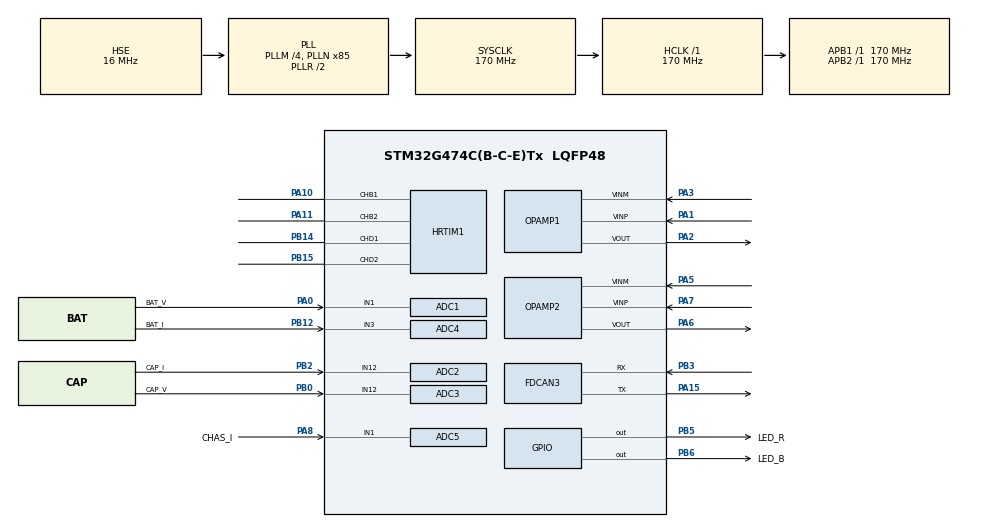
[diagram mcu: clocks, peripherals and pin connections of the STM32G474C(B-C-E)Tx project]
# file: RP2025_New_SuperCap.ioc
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ADC1.Channel-0\#ChannelRegularConversion=ADC_CHANNEL_1
ADC1.DMAContinuousRequests=ENABLE
ADC1.ExternalTrigConv=ADC_EXTERNALTRIG_HRTIM_TRG1
ADC1.NbrOfConversionFlag=1
ADC1.OffsetNumber-0\#ChannelRegularConversion=ADC_OFFSET_NONE
ADC1.Overrun=ADC_OVR_DATA_OVERWRITTEN
ADC1.Rank-0\#ChannelRegularConversion=1
ADC1.SamplingTime-0\#ChannelRegularConversion=ADC_SAMPLETIME_247CYCLES_5
ADC1.master=1
ADC2.Channel-0\#ChannelRegularConversion=ADC_CHANNEL_12
ADC2.DMAContinuousRequests=ENABLE
ADC2.ExternalTrigConv=ADC_EXTERNALTRIG_HRTIM_TRG1
ADC2.NbrOfConversionFlag=1
ADC2.OffsetNumber-0\#ChannelRegularConversion=ADC_OFFSET_NONE
ADC2.Overrun=ADC_OVR_DATA_OVERWRITTEN
ADC2.Rank-0\#ChannelRegularConversion=1
ADC2.SamplingTime-0\#ChannelRegularConversion=ADC_SAMPLETIME_247CYCLES_5
ADC3.Channel-0\#ChannelRegularConversion=ADC_CHANNEL_12
ADC3.DMAContinuousRequests=ENABLE
ADC3.ExternalTrigConv=ADC_EXTERNALTRIG_HRTIM_TRG1
ADC3.NbrOfConversionFlag=1
ADC3.OffsetNumber-0\#ChannelRegularConversion=ADC_OFFSET_NONE
ADC3.Overrun=ADC_OVR_DATA_OVERWRITTEN
ADC3.Rank-0\#ChannelRegularConversion=1
ADC3.SamplingTime-0\#ChannelRegularConversion=ADC_SAMPLETIME_247CYCLES_5
ADC3.master=1
ADC4.Channel-0\#ChannelRegularConversion=ADC_CHANNEL_3
ADC4.DMAContinuousRequests=ENABLE
ADC4.ExternalTrigConv=ADC_EXTERNALTRIG_HRTIM_TRG1
ADC4.NbrOfConversionFlag=1
ADC4.OffsetNumber-0\#ChannelRegularConversion=ADC_OFFSET_NONE
ADC4.Overrun=ADC_OVR_DATA_OVERWRITTEN
ADC4.Rank-0\#ChannelRegularConversion=1
ADC4.SamplingTime-0\#ChannelRegularConversion=ADC_SAMPLETIME_247CYCLES_5
ADC5.Channel-0\#ChannelRegularConversion=ADC_CHANNEL_1
ADC5.DMAContinuousRequests=ENABLE
ADC5.ExternalTrigConv=ADC_EXTERNALTRIG_HRTIM_TRG1
ADC5.NbrOfConversionFlag=1
ADC5.OffsetNumber-0\#ChannelRegularConversion=ADC_OFFSET_NONE
ADC5.Overrun=ADC_OVR_DATA_OVERWRITTEN
ADC5.Rank-0\#ChannelRegularConversion=1
ADC5.SamplingTime-0\#ChannelRegularConversion=ADC_SAMPLETIME_247CYCLES_5
Dma.ADC1.0.Direction=DMA_PERIPH_TO_MEMORY
Dma.ADC1.0.EventEnable=DISABLE
Dma.ADC1.0.Instance=DMA1_Channel1
Dma.ADC1.0.MemDataAlignment=DMA_MDATAALIGN_HALFWORD
Dma.ADC1.0.MemInc=DMA_MINC_ENABLE
Dma.ADC1.0.Mode=DMA_CIRCULAR
Dma.ADC1.0.PeriphDataAlignment=DMA_PDATAALIGN_HALFWORD
Dma.ADC1.0.PeriphInc=DMA_PINC_DISABLE
Dma.ADC1.0.Polarity=HAL_DMAMUX_REQ_GEN_RISING
Dma.ADC1.0.Priority=DMA_PRIORITY_HIGH
Dma.ADC1.0.RequestNumber=1
Dma.ADC1.0.SignalID=NONE
Dma.ADC1.0.SyncEnable=DISABLE
Dma.ADC1.0.SyncPolarity=HAL_DMAMUX_SYNC_NO_EVENT
Dma.ADC1.0.SyncRequestNumber=1
Dma.ADC1.0.SyncSignalID=NONE
Dma.ADC2.1.Direction=DMA_PERIPH_TO_MEMORY
Dma.ADC2.1.EventEnable=DISABLE
Dma.ADC2.1.Instance=DMA1_Channel2
Dma.ADC2.1.MemDataAlignment=DMA_MDATAALIGN_HALFWORD
Dma.ADC2.1.MemInc=DMA_MINC_ENABLE
Dma.ADC2.1.Mode=DMA_CIRCULAR
Dma.ADC2.1.PeriphDataAlignment=DMA_PDATAALIGN_HALFWORD
Dma.ADC2.1.PeriphInc=DMA_PINC_DISABLE
Dma.ADC2.1.Polarity=HAL_DMAMUX_REQ_GEN_RISING
Dma.ADC2.1.Priority=DMA_PRIORITY_VERY_HIGH
Dma.ADC2.1.RequestNumber=1
Dma.ADC2.1.SignalID=NONE
Dma.ADC2.1.SyncEnable=DISABLE
Dma.ADC2.1.SyncPolarity=HAL_DMAMUX_SYNC_NO_EVENT
Dma.ADC2.1.SyncRequestNumber=1
Dma.ADC2.1.SyncSignalID=NONE
Dma.ADC3.2.Direction=DMA_PERIPH_TO_MEMORY
Dma.ADC3.2.EventEnable=DISABLE
Dma.ADC3.2.Instance=DMA1_Channel3
Dma.ADC3.2.MemDataAlignment=DMA_MDATAALIGN_HALFWORD
Dma.ADC3.2.MemInc=DMA_MINC_ENABLE
Dma.ADC3.2.Mode=DMA_CIRCULAR
Dma.ADC3.2.PeriphDataAlignment=DMA_PDATAALIGN_HALFWORD
Dma.ADC3.2.PeriphInc=DMA_PINC_DISABLE
Dma.ADC3.2.Polarity=HAL_DMAMUX_REQ_GEN_RISING
Dma.ADC3.2.Priority=DMA_PRIORITY_HIGH
Dma.ADC3.2.RequestNumber=1
Dma.ADC3.2.SignalID=NONE
Dma.ADC3.2.SyncEnable=DISABLE
Dma.ADC3.2.SyncPolarity=HAL_DMAMUX_SYNC_NO_EVENT
Dma.ADC3.2.SyncRequestNumber=1
Dma.ADC3.2.SyncSignalID=NONE
Dma.ADC4.3.Direction=DMA_PERIPH_TO_MEMORY
Dma.ADC4.3.EventEnable=DISABLE
Dma.ADC4.3.Instance=DMA1_Channel4
Dma.ADC4.3.MemDataAlignment=DMA_MDATAALIGN_HALFWORD
Dma.ADC4.3.MemInc=DMA_MINC_ENABLE
Dma.ADC4.3.Mode=DMA_CIRCULAR
Dma.ADC4.3.PeriphDataAlignment=DMA_PDATAALIGN_HALFWORD
Dma.ADC4.3.PeriphInc=DMA_PINC_DISABLE
Dma.ADC4.3.Polarity=HAL_DMAMUX_REQ_GEN_RISING
Dma.ADC4.3.Priority=DMA_PRIORITY_VERY_HIGH
Dma.ADC4.3.RequestNumber=1
Dma.ADC4.3.SignalID=NONE
Dma.ADC4.3.SyncEnable=DISABLE
Dma.ADC4.3.SyncPolarity=HAL_DMAMUX_SYNC_NO_EVENT
Dma.ADC4.3.SyncRequestNumber=1
Dma.ADC4.3.SyncSignalID=NONE
Dma.ADC5.4.Direction=DMA_PERIPH_TO_MEMORY
Dma.ADC5.4.EventEnable=DISABLE
Dma.ADC5.4.Instance=DMA1_Channel5
Dma.ADC5.4.MemDataAlignment=DMA_MDATAALIGN_HALFWORD
Dma.ADC5.4.MemInc=DMA_MINC_ENABLE
Dma.ADC5.4.Mode=DMA_CIRCULAR
Dma.ADC5.4.PeriphDataAlignment=DMA_PDATAALIGN_HALFWORD
Dma.ADC5.4.PeriphInc=DMA_PINC_DISABLE
Dma.ADC5.4.Polarity=HAL_DMAMUX_REQ_GEN_RISING
Dma.ADC5.4.Priority=DMA_PRIORITY_MEDIUM
Dma.ADC5.4.RequestNumber=1
Dma.ADC5.4.SignalID=NONE
Dma.ADC5.4.SyncEnable=DISABLE
Dma.ADC5.4.SyncPolarity=HAL_DMAMUX_SYNC_NO_EVENT
Dma.ADC5.4.SyncRequestNumber=1
Dma.ADC5.4.SyncSignalID=NONE
Dma.Request0=ADC1
Dma.Request1=ADC2
Dma.Request2=ADC3
Dma.Request3=ADC4
Dma.Request4=ADC5
FDCAN3.CalculateBaudRateNominal=999999
FDCAN3.CalculateTimeBitNominal=1000
FDCAN3.CalculateTimeQuantumNominal=5.882352941176471
FDCAN3.NominalPrescaler=1
FDCAN3.NominalTimeSeg1=85
FDCAN3.NominalTimeSeg2=84
HRTIM1.ADCTrigger1_Source1=HRTIM_ADCTRIGGEREVENT13_MASTER_CMP3
HRTIM1.ADCTrigger_Id1=HRTIM_ADCTRIGGER_1
HRTIM1.CompareUnit1-MasterTimer=HRTIM_COMPAREUNIT_1
HRTIM1.CompareUnit1-Output_TB1TB2=HRTIM_COMPAREUNIT_1
HRTIM1.CompareUnit1-Output_TD1TD2=HRTIM_COMPAREUNIT_1
HRTIM1.CompareUnit3-MasterTimer=HRTIM_COMPAREUNIT_3
HRTIM1.CompareUnit3-Output_TB1TB2=HRTIM_COMPAREUNIT_3
HRTIM1.CompareUnit3-Output_TD1TD2=HRTIM_COMPAREUNIT_3
HRTIM1.CompareValue1-MasterTimer=13600
HRTIM1.CompareValue1-Output_TB1TB2=13600
HRTIM1.CompareValue1-Output_TD1TD2=13600
HRTIM1.CompareValue3-MasterTimer=10880
HRTIM1.CompareValue3-Output_TB1TB2=13600
HRTIM1.CompareValue3-Output_TD1TD2=13600
HRTIM1.DeadTimeInsertion-Output_TB1TB2=HRTIM_TIMDEADTIMEINSERTION_ENABLED
HRTIM1.DeadTimeInsertion-Output_TD1TD2=HRTIM_TIMDEADTIMEINSERTION_ENABLED
HRTIM1.FallingValue-Output_TB1TB2=300
HRTIM1.FallingValue-Output_TD1TD2=300
HRTIM1.InterruptRequests1_Master=HRTIM_MASTER_IT_MREP
HRTIM1.NumberADCTriggerSource1=1
HRTIM1.NumberInterruptRequests_Master-MasterTimer=1
HRTIM1.NumberResetSource1-Output_TB1TB2=1
HRTIM1.NumberResetSource1-Output_TD1TD2=1
HRTIM1.NumberResetTrigger-Output_TB1TB2=1
HRTIM1.NumberResetTrigger-Output_TD1TD2=1
HRTIM1.NumberSetSource1-Output_TB1TB2=1
HRTIM1.NumberSetSource1-Output_TD1TD2=1
HRTIM1.NumberUpdateTrigger-Output_TB1TB2=1
HRTIM1.NumberUpdateTrigger-Output_TD1TD2=1
HRTIM1.Periode_MASTER=27200
HRTIM1.Periode_TB=27200
HRTIM1.Periode_TD=27200
HRTIM1.PreloadEnable-MasterTimer=HRTIM_PRELOAD_ENABLED
HRTIM1.PreloadEnable-Output_TB1TB2=HRTIM_PRELOAD_ENABLED
HRTIM1.PreloadEnable-Output_TD1TD2=HRTIM_PRELOAD_ENABLED
HRTIM1.RepetitionCounter-MasterTimer=5
HRTIM1.RepetitionUpdate-MasterTimer=HRTIM_UPDATEONREPETITION_ENABLED
HRTIM1.RepetitionUpdate-Output_TB1TB2=HRTIM_UPDATEONREPETITION_ENABLED
HRTIM1.RepetitionUpdate-Output_TD1TD2=HRTIM_UPDATEONREPETITION_ENABLED
HRTIM1.ResetOutput1_Source1-Output_TB1TB2=HRTIM_OUTPUTRESET_TIMCMP3
HRTIM1.ResetOutput1_Source1-Output_TD1TD2=HRTIM_OUTPUTRESET_TIMCMP3
HRTIM1.ResetTrigger1-Output_TB1TB2=HRTIM_TIMRESETTRIGGER_MASTER_PER
HRTIM1.ResetTrigger1-Output_TD1TD2=HRTIM_TIMRESETTRIGGER_MASTER_PER
HRTIM1.ResetUpdate-Output_TB1TB2=HRTIM_TIMUPDATEONRESET_ENABLED
HRTIM1.ResetUpdate-Output_TD1TD2=HRTIM_TIMUPDATEONRESET_ENABLED
HRTIM1.RisingValue-Output_TB1TB2=300
HRTIM1.RisingValue-Output_TD1TD2=300
HRTIM1.SetOutput1_Source1-Output_TB1TB2=HRTIM_OUTPUTSET_TIMCMP1
HRTIM1.SetOutput1_Source1-Output_TD1TD2=HRTIM_OUTPUTSET_TIMCMP1
HRTIM1.UpdateTrigger1-Output_TB1TB2=HRTIM_TIMUPDATETRIGGER_TIMER_B
HRTIM1.UpdateTrigger1-Output_TD1TD2=HRTIM_TIMUPDATETRIGGER_TIMER_D
Mcu.Family=STM32G4
Mcu.Name=STM32G474C(B-C-E)Tx
Mcu.Package=LQFP48
NVIC.DMA1_Channel1_IRQn=true\:0\:0\:false\:false\:true\:false\:true\:true
NVIC.DMA1_Channel2_IRQn=true\:0\:0\:false\:false\:true\:false\:true\:true
NVIC.DMA1_Channel3_IRQn=true\:0\:0\:false\:false\:true\:false\:true\:true
NVIC.DMA1_Channel4_IRQn=true\:0\:0\:false\:false\:true\:false\:true\:true
NVIC.DMA1_Channel5_IRQn=true\:0\:0\:false\:false\:true\:false\:true\:true
NVIC.FDCAN3_IT0_IRQn=true\:0\:0\:true\:false\:true\:true\:true\:true
NVIC.HRTIM1_Master_IRQn=true\:0\:0\:false\:false\:true\:true\:true\:true
NVIC.PriorityGroup=NVIC_PRIORITYGROUP_4
NVIC.TIM2_IRQn=true\:15\:0\:false\:false\:true\:false\:true\:true
NVIC.TimeBase=TIM2_IRQn
NVIC.TimeBaseIP=TIM2
OPAMP1.PowerMode=OPAMP_POWERMODE_HIGHSPEED
OPAMP2.PowerMode=OPAMP_POWERMODE_HIGHSPEED
PA0.GPIO_Label=BAT_V
PA0.Mode=IN1-Single-Ended
PA0.Signal=ADC1_IN1
PA1.Mode=Standalone
PA1.Signal=OPAMP1_VINP
PA10.Mode=Output_TB1TB2
PA10.Signal=HRTIM1_CHB1
PA11.Mode=Output_TB1TB2
PA11.Signal=HRTIM1_CHB2
PA13.Mode=Serial_Wire
PA13.Signal=SYS_JTMS-SWDIO
PA14.Mode=Serial_Wire
PA14.Signal=SYS_JTCK-SWCLK
PA15.GPIO_Speed=GPIO_SPEED_FREQ_VERY_HIGH
PA15.Mode=FDCAN_Activate
PA15.Signal=FDCAN3_TX
PA2.Mode=Standalone
PA2.Signal=OPAMP1_VOUT
PA3.Mode=Standalone
PA3.Signal=OPAMP1_VINM
PA5.Mode=Standalone
PA5.Signal=OPAMP2_VINM
PA6.Mode=Standalone
PA6.Signal=OPAMP2_VOUT
PA7.Mode=Standalone
PA7.Signal=OPAMP2_VINP
PA8.GPIO_Label=CHAS_I
PA8.Mode=IN1-Single-Ended
PA8.Signal=ADC5_IN1
PB0.GPIO_Label=CAP_V
PB0.Mode=IN12-Single-Ended
PB0.Signal=ADC3_IN12
PB10.Signal=USART3_TX
PB11.Signal=USART3_RX
PB12.GPIO_Label=BAT_I
PB12.Mode=IN3-Single-Ended
PB12.Signal=ADC4_IN3
PB14.Mode=Output_TD1TD2
PB14.Signal=HRTIM1_CHD1
PB15.Mode=Output_TD1TD2
PB15.Signal=HRTIM1_CHD2
PB2.GPIO_Label=CAP_I
PB2.Mode=IN12-Single-Ended
PB2.Signal=ADC2_IN12
PB3.GPIO_Speed=GPIO_SPEED_FREQ_VERY_HIGH
PB3.Mode=FDCAN_Activate
PB3.Signal=FDCAN3_RX
PB5.GPIO_Label=LED_R
PB5.GPIO_Speed=GPIO_SPEED_FREQ_VERY_HIGH
PB5.Signal=GPIO_Output
PB6.GPIO_FM6=SYSCFG_FASTMODEPLUS_PB6
PB6.GPIO_Label=LED_B
PB6.GPIO_Speed=GPIO_SPEED_FREQ_VERY_HIGH
PB6.Signal=GPIO_Output
PB8-BOOT0.Signal=I2C1_SCL
PB9.Signal=I2C1_SDA
PF0-OSC_IN.Mode=HSE-External-Oscillator
PF0-OSC_IN.Signal=RCC_OSC_IN
PF1-OSC_OUT.Mode=HSE-External-Oscillator
PF1-OSC_OUT.Signal=RCC_OSC_OUT
ProjectManager.HeapSize=0x200
ProjectManager.StackSize=0x400
ProjectManager.TargetToolchain=MDK-ARM V5.32
RCC.ADC12Freq_Value=170000000
RCC.ADC345Freq_Value=170000000
RCC.AHBFreq_Value=170000000
RCC.APB1Freq_Value=170000000
RCC.APB1TimFreq_Value=170000000
RCC.APB2Freq_Value=170000000
RCC.APB2TimFreq_Value=170000000
RCC.CortexFreq_Value=170000000
RCC.EXTERNAL_CLOCK_VALUE=12288000
RCC.HCLKFreq_Value=170000000
RCC.HSE_VALUE=16000000
RCC.HSI48_VALUE=48000000
RCC.HSI_VALUE=16000000
RCC.LSE_VALUE=32768
RCC.PLLM=RCC_PLLM_DIV4
RCC.PLLN=85
RCC.PLLSourceVirtual=RCC_PLLSOURCE_HSE
RCC.PREFETCH_ENABLE=1
RCC.SYSCLKFreq_VALUE=170000000
RCC.SYSCLKSource=RCC_SYSCLKSOURCE_PLLCLK
RCC.USBFreq_Value=170000000
RCC.VCOOutputFreq_Value=340000000
VP_HRTIM1_VS_hrtimMasterTimerNoOutput.Mode=MasterTimer
VP_SYS_VS_DBSignals.Mode=DisableDeadBatterySignals
VP_SYS_VS_tim2.Mode=TIM2
VP_SYS_V_VREFBUF.Mode=ExternalMode
board=custom

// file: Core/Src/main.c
/* USER CODE BEGIN Header */
/**
  ******************************************************************************
  * @file           : main.c
  * @brief          : Main program body
  ******************************************************************************
  * @attention
  *
  * Copyright (c) 2025 STMicroelectronics.
  * All rights reserved.
  *
  * This software is licensed under terms that can be found in the LICENSE file
  * in the root directory of this software component.
  * If no LICENSE file comes with this software, it is provided AS-IS.
  *
  ******************************************************************************
  */
/* USER CODE END Header */
#include "main.h"
#include "adc.h"
#include "dma.h"
#include "fdcan.h"
#include "hrtim.h"
#include "opamp.h"
#include "gpio.h"

/* USER CODE BEGIN Includes */

#include "driver.h"
#include "cap_board.h"
#include "config.h"

#ifdef _I_NEED_TO_PRINT_INFO_

// 调试用
#include "DWT.h"
#include "WL_debug_uart.h"

#endif

/* USER CODE END Includes */

/* USER CODE BEGIN PV */

#ifdef _I_NEED_TO_PRINT_INFO_

// 调试用
/* 看代码运行周期数的变量 */
uint32_t diff_nl_cyccnt2;
uint32_t lastcyccnt2;
uint32_t nowcyccnt2;
/* 串口定时发送的变量 */
uint32_t lastcyccnt_for_wl_debug;
uint32_t nowcyccnt_for_wl_debug;

#endif

/* USER CODE END PV */

void SystemClock_Config(void);

int main(void)
{

  /* MCU Configuration--------------------------------------------------------*/

  /* Reset of all peripherals, Initializes the Flash interface and the Systick. */
  HAL_Init();

  /* Configure the system clock */
  SystemClock_Config();

  /* Initialize all configured peripherals */
  MX_GPIO_Init();
  MX_DMA_Init();
  MX_ADC1_Init();
  MX_ADC2_Init();
  MX_ADC3_Init();
  MX_ADC4_Init();
  MX_ADC5_Init();
  MX_FDCAN3_Init();
  MX_HRTIM1_Init();
  MX_OPAMP1_Init();
  MX_OPAMP2_Init();
  /* USER CODE BEGIN 2 */

    /* 等待所有外设初始化完成 */
    HAL_Delay(1000);

    /* 检查代码是否与板号匹配 */
    check_code_match();

#ifdef _I_NEED_TO_PRINT_INFO_

    // 调试用
    DWT_Init();         // 使能代码计时
    WL_UART_Init();     // 开启串口输出

#endif

    /* 开启所有外设 */
    DRIVER_Init();

  /* USER CODE END 2 */

  /* Infinite loop */
  /* USER CODE BEGIN WHILE */
  while (1)
  {

#ifdef _I_NEED_TO_PRINT_INFO_

//    //调试用
//    HAL_UART_Transmit(&huart3, test_data, 5, 1000);
//    HAL_Delay(1);
//    huart3.gState = HAL_UART_STATE_READY;
//    HAL_UART_Transmit_DMA(&huart3, test_data, 5);
//    WL_UART_printf("%s", test_data);

    // 调试用
    nowcyccnt_for_wl_debug = DWT_GetCycleCount();
    if (nowcyccnt_for_wl_debug - lastcyccnt_for_wl_debug > 170000)       // 170MHz时钟下理论1ms
    {

        // 调试用
        /*测量每次实际发送的周期数*/
        nowcyccnt2 = DWT_GetCycleCount();
        diff_nl_cyccnt2 = nowcyccnt2 - lastcyccnt2;
        lastcyccnt2 = nowcyccnt2;

        // 实际发送频率根据diff_nl_cyccnt2来确定
        WL_UART_printf("%.3f,%.3f,%.3f,%.3f,%.3f,%.3f,%.3f\n", capboard.adc_cali_info[BAT_V ], \
                                                               capboard.adc_cali_info[CAP_I ], \
                                                               capboard.adc_cali_info[CAP_V ], \
                                                               capboard.adc_cali_info[BAT_I ], \
                                                               capboard.adc_cali_info[CHAS_I], \
                                                               capboard.input_power, \
                                                               capboard.output_power);

        lastcyccnt_for_wl_debug = nowcyccnt_for_wl_debug;
    }

#endif

    /* USER CODE END WHILE */

  }
}

void SystemClock_Config(void)
{
  RCC_OscInitTypeDef RCC_OscInitStruct = {0};
  RCC_ClkInitTypeDef RCC_ClkInitStruct = {0};

  /** Configure the main internal regulator output voltage
  */
  HAL_PWREx_ControlVoltageScaling(PWR_REGULATOR_VOLTAGE_SCALE1_BOOST);

  /** Initializes the RCC Oscillators according to the specified parameters
  * in the RCC_OscInitTypeDef structure.
  */
  RCC_OscInitStruct.OscillatorType = RCC_OSCILLATORTYPE_HSE;
  RCC_OscInitStruct.HSEState = RCC_HSE_ON;
  RCC_OscInitStruct.PLL.PLLState = RCC_PLL_ON;
  RCC_OscInitStruct.PLL.PLLSource = RCC_PLLSOURCE_HSE;
  RCC_OscInitStruct.PLL.PLLM = RCC_PLLM_DIV4;
  RCC_OscInitStruct.PLL.PLLN = 85;
  RCC_OscInitStruct.PLL.PLLP = RCC_PLLP_DIV2;
  RCC_OscInitStruct.PLL.PLLQ = RCC_PLLQ_DIV2;
  RCC_OscInitStruct.PLL.PLLR = RCC_PLLR_DIV2;
  if (HAL_RCC_OscConfig(&RCC_OscInitStruct) != HAL_OK)
  {
    Error_Handler();
  }

  /** Initializes the CPU, AHB and APB buses clocks
  */
  RCC_ClkInitStruct.ClockType = RCC_CLOCKTYPE_HCLK|RCC_CLOCKTYPE_SYSCLK
                              |RCC_CLOCKTYPE_PCLK1|RCC_CLOCKTYPE_PCLK2;
  RCC_ClkInitStruct.SYSCLKSource = RCC_SYSCLKSOURCE_PLLCLK;
  RCC_ClkInitStruct.AHBCLKDivider = RCC_SYSCLK_DIV1;
  RCC_ClkInitStruct.APB1CLKDivider = RCC_HCLK_DIV1;
  RCC_ClkInitStruct.APB2CLKDivider = RCC_HCLK_DIV1;

  if (HAL_RCC_ClockConfig(&RCC_ClkInitStruct, FLASH_LATENCY_4) != HAL_OK)
  {
    Error_Handler();
  }
}

void HAL_TIM_PeriodElapsedCallback(TIM_HandleTypeDef *htim)
{
  if (htim->Instance == TIM2) {
    HAL_IncTick();
  }
}

void Error_Handler(void)
{
  __disable_irq();
  while (1)
  {
  }
}
